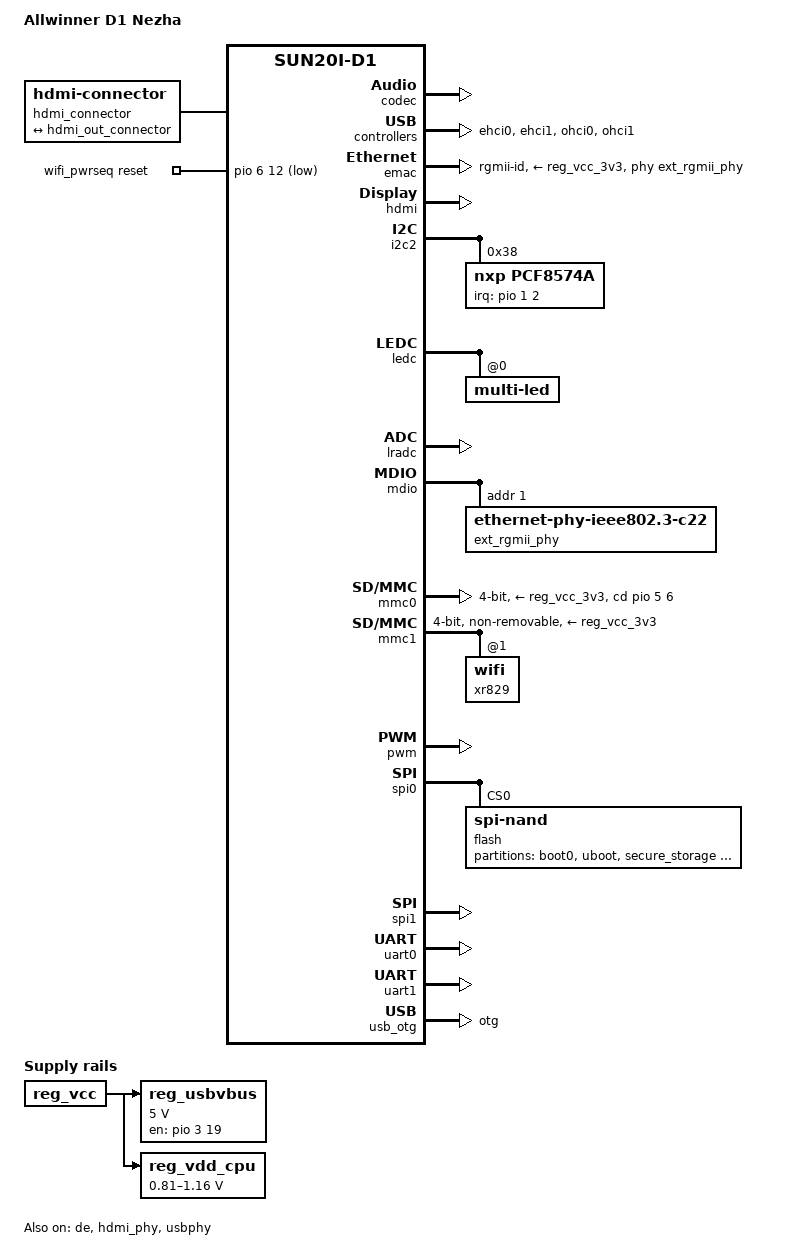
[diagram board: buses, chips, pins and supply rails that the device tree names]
// SPDX-License-Identifier: (GPL-2.0+ or MIT)
// Copyright (C) 2021-2022 Samuel Holland <samuel@sholland.org>

/dts-v1/;

#include <dt-bindings/gpio/gpio.h>
#include <dt-bindings/input/input.h>
#include <dt-bindings/leds/common.h>

#include "sun20i-d1.dtsi"
#include "sun20i-d1-common-regulators.dtsi"

/ {
	model = "Allwinner D1 Nezha";
	compatible = "allwinner,d1-nezha", "allwinner,sun20i-d1";

	aliases {
		ethernet0 = &emac;
		ethernet1 = &xr829;
		mmc0 = &mmc0;
		serial0 = &uart0;
		spi0 = &spi0;
	};

	chosen {
		stdout-path = "serial0:115200n8";
	};

	hdmi_connector: connector {
		compatible = "hdmi-connector";
		type = "a";

		port {
			hdmi_connector_in: endpoint {
				remote-endpoint = <&hdmi_out_connector>;
			};
		};
	};

	reg_usbvbus: usbvbus {
		compatible = "regulator-fixed";
		regulator-name = "usbvbus";
		regulator-min-microvolt = <5000000>;
		regulator-max-microvolt = <5000000>;
		gpio = <&pio 3 19 GPIO_ACTIVE_HIGH>; /* PD19 */
		enable-active-high;
		vin-supply = <&reg_vcc>;
	};

	reg_vdd_cpu: vdd-cpu {
		compatible = "pwm-regulator";
		pwms = <&pwm 0 50000 0>;
		pwm-supply = <&reg_vcc>;
		regulator-name = "vdd-cpu";
		regulator-min-microvolt = <810000>;
		regulator-max-microvolt = <1160000>;
	};

	wifi_pwrseq: wifi-pwrseq {
		compatible = "mmc-pwrseq-simple";
		reset-gpios = <&pio 6 12 GPIO_ACTIVE_LOW>; /* PG12 */
	};
};

&codec {
	routing = "Headphone Jack", "HPOUTL",
		  "Headphone Jack", "HPOUTR",
		  "LINEINL", "HPOUTL",
		  "LINEINR", "HPOUTR",
		  "MICIN3", "Headset Microphone",
		  "Headset Microphone", "HBIAS";
	widgets = "Microphone", "Headset Microphone",
		  "Headphone", "Headphone Jack";
	status = "okay";
};

&cpu0 {
	cpu-supply = <&reg_vdd_cpu>;
};

&de {
	status = "okay";
};

&ehci0 {
	status = "okay";
};

&ehci1 {
	status = "okay";
};

&emac {
	pinctrl-0 = <&rgmii_pe_pins>;
	pinctrl-names = "default";
	phy-handle = <&ext_rgmii_phy>;
	phy-mode = "rgmii-id";
	phy-supply = <&reg_vcc_3v3>;
	status = "okay";
};

&hdmi {
	status = "okay";
};

&hdmi_out {
	hdmi_out_connector: endpoint {
		remote-endpoint = <&hdmi_connector_in>;
	};
};

&hdmi_phy {
	status = "okay";
};

&i2c2 {
	pinctrl-0 = <&i2c2_pb0_pins>;
	pinctrl-names = "default";
	status = "okay";

	pcf8574a: gpio@38 {
		compatible = "nxp,pcf8574a";
		reg = <0x38>;
		interrupt-parent = <&pio>;
		interrupts = <1 2 IRQ_TYPE_LEVEL_LOW>; /* PB2 */
		interrupt-controller;
		gpio-controller;
		#gpio-cells = <2>;
		#interrupt-cells = <2>;
		gpio-line-names =
			"PP0 [gpio8]",
			"PP1 [gpio10]",
			"PP2 [gpio11]",
			"PP3 [gpio17]",
			"PP4 [gpio14]",
			"PP5 [gpio19]",
			"PP6 [gpio23]",
			"PP7 [gpio6]";
	};
};

&ledc {
	pinctrl-0 = <&ledc_pc0_pin>;
	pinctrl-names = "default";
	status = "okay";

	multi-led@0 {
		reg = <0x0>;
		color = <LED_COLOR_ID_RGB>;
		function = LED_FUNCTION_STATUS;
	};
};

&lradc {
	status = "okay";

	button-160 {
		label = "OK";
		linux,code = <KEY_OK>;
		channel = <0>;
		voltage = <160000>;
	};
};

&mdio {
	ext_rgmii_phy: ethernet-phy@1 {
		compatible = "ethernet-phy-ieee802.3-c22";
		reg = <1>;
	};
};

&mmc0 {
	bus-width = <4>;
	cd-gpios = <&pio 5 6 GPIO_ACTIVE_HIGH>; /* PF6 */
	disable-wp;
	vmmc-supply = <&reg_vcc_3v3>;
	vqmmc-supply = <&reg_vcc_3v3>;
	pinctrl-0 = <&mmc0_pins>;
	pinctrl-names = "default";
	status = "okay";
};

&mmc1 {
	bus-width = <4>;
	mmc-pwrseq = <&wifi_pwrseq>;
	non-removable;
	vmmc-supply = <&reg_vcc_3v3>;
	vqmmc-supply = <&reg_vcc_3v3>;
	pinctrl-0 = <&mmc1_pins>;
	pinctrl-names = "default";
	status = "okay";

	xr829: wifi@1 {
		reg = <1>;
	};
};

&ohci0 {
	status = "okay";
};

&ohci1 {
	status = "okay";
};

&pwm {
	pinctrl-0 = <&pwm0_pd16_pin>;
	pinctrl-names = "default";
	status = "okay";
};

&spi0 {
	pinctrl-0 = <&spi0_pins>;
	pinctrl-names = "default";
	status = "okay";

	flash@0 {
		compatible = "spi-nand";
		reg = <0>;

		partitions {
			compatible = "fixed-partitions";
			#address-cells = <1>;
			#size-cells = <1>;

			partition@0 {
				label = "boot0";
				reg = <0x00000000 0x00100000>;
			};

			partition@100000 {
				label = "uboot";
				reg = <0x00100000 0x00300000>;
			};

			partition@400000 {
				label = "secure_storage";
				reg = <0x00400000 0x00100000>;
			};

			partition@500000 {
				label = "sys";
				reg = <0x00500000 0x0fb00000>;
			};
		};
	};
};

&spi1 {
	pinctrl-0 = <&spi1_pd_pins>;
	pinctrl-names = "default";
	status = "okay";
};

&uart0 {
	pinctrl-0 = <&uart0_pb8_pins>;
	pinctrl-names = "default";
	status = "okay";
};

&uart1 {
	uart-has-rtscts;
	pinctrl-0 = <&uart1_pg6_pins>, <&uart1_pg8_rts_cts_pins>;
	pinctrl-names = "default";
	status = "okay";

	/* XR829 bluetooth is connected here */
};

&usb_otg {
	dr_mode = "otg";
	status = "okay";
};

&usbphy {
	usb0_id_det-gpios = <&pio 3 21 GPIO_ACTIVE_HIGH>; /* PD21 */
	usb0_vbus_det-gpios = <&pio 3 20 GPIO_ACTIVE_HIGH>; /* PD20 */
	usb0_vbus-supply = <&reg_usbvbus>;
	usb1_vbus-supply = <&reg_vcc>;
	status = "okay";
};

&pio {
	gpio-line-names =
		/* Port A */
		"PA0",
		"PA1",
		"PA2",
		"PA3",
		"PA4",
		"PA5",
		"PA6",
		"PA7",
		"PA8",
		"PA9",
		"PA10",
		"PA11",
		"PA12",
		"PA13",
		"PA14",
		"PA15",
		"PA16",
		"PA17",
		"PA18",
		"PA19",
		"PA20",
		"PA21",
		"PA22",
		"PA23",
		"PA24",
		"PA25",
		"PA26",
		"PA27",
		"PA28",
		"PA29",
		"PA30",
		"PA31",
		/* Port B */
		"PB0 [gpio2/twi2-sck]",
		"PB1 [gpio1/twi2-sda]",
		"PB2",
		"PB3 [gpio24-i2s2-din]",
		"PB4 [gpio25-i2s2-dout]",
		"PB5 [gpio7/i2s-clk]",
		"PB6 [gpio22/i2s2-lrck]",
		"PB7",
		"PB8 [gpio4/uart0-txd]",
		"PB9 [gpio4/uart0-rxd]",
		"PB10",
		"PB11",
		"PB12 [gpio9]",
		"PB13",
		"PB14",
		"PB15",
		"PB16",
		"PB17",
		"PB18",
		"PB19",
		"PB20",
		"PB21",
		"PB22",
		"PB23",
		"PB24",
		"PB25",
		"PB26",
		"PB27",
		"PB28",
		"PB29",
		"PB30",
		"PB31",
		/* Port C */
		"PC0",
		"PC1 [gpio21]",
		"PC2",
		"PC3",
		"PC4",
		"PC5",
		"PC6",
		"PC7",
		"PC8",
		"PC9",
		"PC10",
		"PC11",
		"PC12",
		"PC13",
		"PC14",
		"PC15",
		"PC16",
		"PC17",
		"PC18",
		"PC19",
		"PC20",
		"PC21",
		"PC22",
		"PC23",
		"PC24",
		"PC25",
		"PC26",
		"PC27",
		"PC28",
		"PC29",
		"PC30",
		"PC31",
		/* Port D */
		"PD0",
		"PD1",
		"PD2",
		"PD3",
		"PD4",
		"PD5",
		"PD6",
		"PD7",
		"PD8",
		"PD9",
		"PD10 [gpio16/spi1-ce0]",
		"PD11 [gpio15/spi1-clk]",
		"PD12 [gpio12/spi1-mosi]",
		"PD13 [gpio13/spi1-miso]",
		"PD14 [gpio18/spi1-hold]",
		"PD15 [gpio20/spi1-wp]",
		"PD16",
		"PD17",
		"PD18",
		"PD19",
		"PD20",
		"PD21",
		"PD22 [gpio3/pwm]",
		"PD23",
		"PD24",
		"PD25",
		"PD26",
		"PD27",
		"PD28",
		"PD29",
		"PD30",
		"PD31",
		/* Port E */
		"PE0",
		"PE1",
		"PE2",
		"PE3",
		"PE4",
		"PE5",
		"PE6",
		"PE7",
		"PE8",
		"PE9",
		"PE10",
		"PE11",
		"PE12",
		"PE13",
		"PE14",
		"PE15",
		"PE16",
		"PE17",
		"PE18",
		"PE19",
		"PE20",
		"PE21",
		"PE22",
		"PE23",
		"PE24",
		"PE25",
		"PE26",
		"PE27",
		"PE28",
		"PE29",
		"PE30",
		"PE31",
		/* Port F */
		"PF0",
		"PF1",
		"PF2",
		"PF3",
		"PF4",
		"PF5",
		"PF6",
		"PF7",
		"PF8",
		"PF9",
		"PF10",
		"PF11",
		"PF12",
		"PF13",
		"PF14",
		"PF15",
		"PF16",
		"PF17",
		"PF18",
		"PF19",
		"PF20",
		"PF21",
		"PF22",
		"PF23",
		"PF24",
		"PF25",
		"PF26",
		"PF27",
		"PF28",
		"PF29",
		"PF30",
		"PF31",
		/* Port G */
		"PG0",
		"PG1",
		"PG2",
		"PG3",
		"PG4",
		"PG5",
		"PG6",
		"PG7",
		"PG8",
		"PG9",
		"PG10",
		"PG11",
		"PG12",
		"PG13",
		"PG14",
		"PG15",
		"PG16",
		"PG17",
		"PG18",
		"PG19",
		"PG20",
		"PG21",
		"PG22",
		"PG23",
		"PG24",
		"PG25",
		"PG26",
		"PG27",
		"PG28",
		"PG29",
		"PG30",
		"PG31";
};
